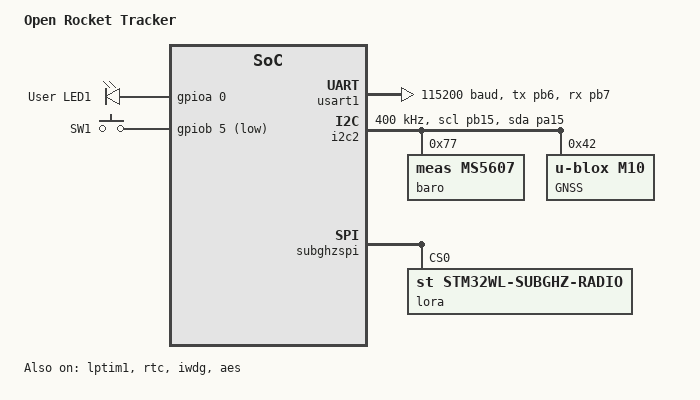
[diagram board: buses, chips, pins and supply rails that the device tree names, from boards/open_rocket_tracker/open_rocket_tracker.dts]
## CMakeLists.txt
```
cmake_minimum_required(VERSION 3.20.0)
find_package(Zephyr REQUIRED HINTS $ENV{ZEPHYR_BASE})
project(open_rocket_tracker_rx)

target_sources(app PRIVATE src/main.c)
```

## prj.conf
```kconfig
# Enable LoRa
CONFIG_LORA=y

# LoRa Configuration
# Adjust these to match your transmitter settings
CONFIG_LORA_FREQUENCY=915000000
CONFIG_LORA_BANDWIDTH=125
CONFIG_LORA_SPREADING_FACTOR=9
CONFIG_LORA_TX_POWER=14

# Enable comms driver
CONFIG_SERIAL=y

# Enable GPIO
CONFIG_GPIO=y

# Console
CONFIG_CONSOLE=y
CONFIG_PRINTK=y
CONFIG_UART_CONSOLE=y

# Enable MPU
CONFIG_ARM_MPU=y

# Enable HW stack protection
CONFIG_HW_STACK_PROTECTION=y

# RF Activity LED
CONFIG_RF_ENABLE_LED=y
```

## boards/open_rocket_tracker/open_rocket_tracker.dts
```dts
/*
 * Copyright (c) 2023 Marcin Niestroj
 *
 * SPDX-License-Identifier: Apache-2.0
 */

/dts-v1/;
#include <seeed_studio/lora-e5.dtsi>
#include <zephyr/dt-bindings/input/input-event-codes.h>

/ {
	model = "Open Rocket Tracker";
	compatible = "orca,rocket-tracker";

	chosen {
		zephyr,console = &usart1;
		zephyr,shell-uart = &usart1;
		zephyr,sram = &sram0;
		zephyr,flash = &flash0;
		zephyr,code-partition = &slot0_partition;
	};

	leds {
		compatible = "gpio-leds";
		red_led_1: led_1 {
			gpios = <&gpioa 0 GPIO_ACTIVE_HIGH>;
			label = "User LED1";
		};
	};

	gpio_keys {
		compatible = "gpio-keys";
		boot_button: button_0 {
			label = "SW1";
			gpios = <&gpiob 5 (GPIO_ACTIVE_LOW | GPIO_PULL_UP)>;
			zephyr,code = <INPUT_KEY_0>;
		};
	};

	aliases {
		led0 = &red_led_1;
		sw0 = &boot_button;
		lora0 = &lora;
		watchdog0 = &iwdg;
	};
};

stm32_lp_tick_source: &lptim1 {
	status = "okay";
	clocks = <&rcc STM32_CLOCK_BUS_APB1 0x80000000>,
		 <&rcc STM32_SRC_LSI LPTIM1_SEL(1)>;
};

&clk_lsi {
	status = "okay";
};

&clk_msi {
	status = "okay";
	msi-range = <11>;
};

&rcc {
	clocks = <&clk_msi>;
	clock-frequency = <DT_FREQ_M(48)>;
	cpu1-prescaler = <1>;
	ahb3-prescaler = <1>;
	apb1-prescaler = <1>;
	apb2-prescaler = <1>;
};

&usart1 {
	pinctrl-0 = <&usart1_tx_pb6 &usart1_rx_pb7>;
	pinctrl-names = "default";
	current-speed = <115200>;
	status = "okay";
};

&i2c2 {
	pinctrl-0 = <&i2c2_scl_pb15 &i2c2_sda_pa15>;
	pinctrl-names = "default";
	status = "okay";
	clock-frequency = <I2C_BITRATE_FAST>;
	baro@77 {
        compatible = "meas,ms5607";
        reg = <0x77>;
        status = "okay";
    };
	gnss@42 {
        compatible = "u-blox,m10";
        reg = <0x42>;
        label = "GNSS";
		status = "okay";
    };
};

&rtc {
	clocks = <&rcc STM32_CLOCK_BUS_APB1 0x00000400>,
		 <&rcc STM32_SRC_LSI RTC_SEL(2)>;
	status = "okay";
};

&iwdg {
	status = "okay";
};

&aes {
	status = "okay";
};

&flash0 {
	partitions {
		compatible = "fixed-partitions";
		#address-cells = <1>;
		#size-cells = <1>;

		boot_partition: partition@0 {
			label = "mcuboot";
			reg = <0x00000000 DT_SIZE_K(48)>;
		};
		slot0_partition: partition@c000 {
			label = "image-0";
			reg = <0x0000c000 DT_SIZE_K(96)>;
		};
		slot1_partition: partition@24000 {
			label = "image-1";
			reg = <0x00024000 DT_SIZE_K(96)>;
		};

		/* 16KB (8x2kB pages) of storage at the end of the flash */
		storage_partition: partition@3c000 {
			label = "storage";
			reg = <0x0003c000 DT_SIZE_K(16)>;
		};
	};
};

/* Add this to your open_rocket_tracker.dts if not already present */
&subghzspi {
    status = "okay";
    
    lora: radio@0 {
        compatible = "st,stm32wl-subghz-radio";
        reg = <0>;
        status = "okay";
    };
};
```

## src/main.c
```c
#include <zephyr/kernel.h>
#include <zephyr/device.h>
#include <zephyr/drivers/lora.h>
#include <zephyr/drivers/gpio.h>
#include <zephyr/sys/printk.h>
#include <string.h>

/* Configuration Constants */
#define RX_PACKET_SIZE 25

/* LoRa Configuration from Kconfig */
#define LORA_FREQUENCY      CONFIG_LORA_FREQUENCY
#define LORA_BANDWIDTH      CONFIG_LORA_BANDWIDTH
#define LORA_SPREADING_FACTOR CONFIG_LORA_SPREADING_FACTOR
#define LORA_TX_POWER       CONFIG_LORA_TX_POWER

/* Device pointer */
static const struct device *lora_dev = DEVICE_DT_GET(DT_ALIAS(lora0));

#if IS_ENABLED(CONFIG_RF_ENABLE_LED)
static const struct gpio_dt_spec led = GPIO_DT_SPEC_GET(DT_ALIAS(led0), gpios);
#endif

/* Data packet structure - must match transmitter */
union DataPacket {
    struct {
        int32_t latitude;     /* degrees * 1e7 */
        int32_t longitude;    /* degrees * 1e7 */
        int32_t altitude;     /* meters */
        uint32_t timeMs;      /* HHMMSS or milliseconds */
        int32_t pressure;     /* Pascals */
        int16_t temperature;  /* centi-degrees Celsius */
        uint8_t satellites;   /* number of satellites */
        uint8_t status;       /* status flags */
        uint8_t checksum;     /* XOR checksum */
    } fields;
    uint8_t buffer[RX_PACKET_SIZE];
};

/* Map Kconfig bandwidth to Zephyr LoRa enum */
static enum lora_signal_bandwidth get_bandwidth(void)
{
    switch (LORA_BANDWIDTH) {
    case 125:
        return BW_125_KHZ;
    case 250:
        return BW_250_KHZ;
    case 500:
        return BW_500_KHZ;
    default:
        return BW_125_KHZ;
    }
}

/* Map Kconfig spreading factor to Zephyr LoRa enum */
static enum lora_datarate get_spreading_factor(void)
{
    switch (LORA_SPREADING_FACTOR) {
    case 6:
        return SF_6;
    case 7:
        return SF_7;
    case 8:
        return SF_8;
    case 9:
        return SF_9;
    case 10:
        return SF_10;
    case 11:
        return SF_11;
    case 12:
        return SF_12;
    default:
        return SF_12;
    }
}

/* Verify packet checksum */
static bool verify_checksum(const uint8_t *data, size_t len)
{
    if (len < 2) {
        return false;
    }

    uint8_t calculated = 0;
    for (size_t i = 0; i < len - 1; i++) {
        calculated ^= data[i];
    }
    return (calculated == data[len - 1]);
}

int main(void)
{
    union DataPacket rx_packet;
    int16_t rssi;
    int8_t snr;
    int ret;

    /* Check device readiness */
    if (!device_is_ready(lora_dev)) {
        printk("LoRa device not ready\n");
        return 1;
    }

#if IS_ENABLED(CONFIG_RF_ENABLE_LED)
    /* Initialize LED */
    if (!gpio_is_ready_dt(&led)) {
        printk("LED device not ready\n");
        return 1;
    }
    gpio_pin_configure_dt(&led, GPIO_OUTPUT_INACTIVE);
    printk("RF LED enabled on PA0\n");
#endif

    /* Configure LoRa radio for receive */
    struct lora_modem_config config = {
        .frequency = LORA_FREQUENCY,
        .bandwidth = get_bandwidth(),
        .datarate = get_spreading_factor(),
        .coding_rate = CR_4_5,
        .preamble_len = 8,
        .tx_power = LORA_TX_POWER,
        .tx = false,  /* RX mode */
        .public_network = false,
        .iq_inverted = false,
    };

    ret = lora_config(lora_dev, &config);
    if (ret < 0) {
        printk("LoRa config failed: %d\n", ret);
        return 1;
    }

    /* Print startup info */
    printk("\n");
    printk("=== Open Rocket Tracker Base Station ===\n");
    printk("Frequency: %u Hz\n", LORA_FREQUENCY);
    printk("Bandwidth: %u kHz\n", LORA_BANDWIDTH);
    printk("Spreading Factor: SF%u\n", LORA_SPREADING_FACTOR);
    printk("Listening for packets...\n");
    printk("\n");

    /* Print CSV header */
    printk("sats,lat_deg,lon_deg,alt_m,time,pressure_Pa,temp_C,status,chksum,rssi_dBm,snr_dB\n");

    /* Main receive loop */
    while (1) {
        /* Clear buffer */
        memset(rx_packet.buffer, 0, RX_PACKET_SIZE);

        /* Blocking receive */
        ret = lora_recv(lora_dev, rx_packet.buffer, RX_PACKET_SIZE,
                        K_FOREVER, &rssi, &snr);

        if (ret < 0) {
            printk("LoRa receive error: %d\n", ret);
            continue;
        }

        if (ret != RX_PACKET_SIZE) {
            printk("Unexpected packet size: %d\n", ret);
            continue;
        }

        /* Verify checksum */
        if (!verify_checksum(rx_packet.buffer, RX_PACKET_SIZE)) {
            printk("Invalid checksum, packet discarded\n");
            continue;
        }

#if IS_ENABLED(CONFIG_RF_ENABLE_LED)
        /* Flash LED on valid packet received */
        gpio_pin_set_dt(&led, 1);
#endif

        /* Output CSV format matching Arduino receiver */
        /* sats,lat_deg,lon_deg,alt_m,time,pressure_Pa,temp_C,status,chksum,rssi_dBm,snr_dB */

        /* Calculate floating point values */
        int32_t lat_int = rx_packet.fields.latitude / 10000000;
        int32_t lat_frac = (rx_packet.fields.latitude % 10000000);
        if (lat_frac < 0) lat_frac = -lat_frac;

        int32_t lon_int = rx_packet.fields.longitude / 10000000;
        int32_t lon_frac = (rx_packet.fields.longitude % 10000000);
        if (lon_frac < 0) lon_frac = -lon_frac;

        int32_t temp_int = rx_packet.fields.temperature / 100;
        int32_t temp_frac = rx_packet.fields.temperature % 100;
        if (temp_frac < 0) temp_frac = -temp_frac;

        printk("%u,%d.%06d,%d.%06d,%d,%u,%d,%d.%02d,0x%02X,0x%02X,%d,%d\n",
               rx_packet.fields.satellites,
               lat_int, (int)(lat_frac / 10),  /* 6 decimal places */
               lon_int, (int)(lon_frac / 10),  /* 6 decimal places */
               rx_packet.fields.altitude,
               rx_packet.fields.timeMs,
               rx_packet.fields.pressure,
               temp_int, (int)temp_frac,
               rx_packet.fields.status,
               rx_packet.fields.checksum,
               rssi,
               snr);

#if IS_ENABLED(CONFIG_RF_ENABLE_LED)
        /* Turn off LED after processing */
        gpio_pin_set_dt(&led, 0);
#endif
    }

    return 0;
}
```
